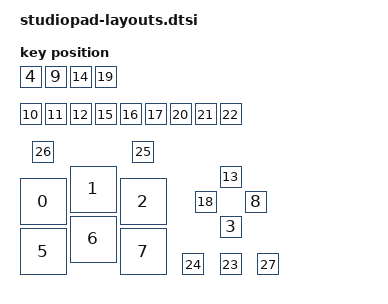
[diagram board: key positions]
#include <physical_layouts.dtsi>

/ {
    physical_layout_studiopad: physical_layout_studiopad {
        compatible = "zmk,physical-layout";
        display-name = "StudioPad";
        keys  //                     w   h    x    y     rot    rx    ry
            = <&key_physical_attrs 100 100    0  225       0     0   225>
            , <&key_physical_attrs 100 100  100  200       0   100   200>
            , <&key_physical_attrs 100 100  200  225       0   200   225>
            , <&key_physical_attrs  50  50  400  300       0   400   300>
            , <&key_physical_attrs  50  50    0    0       0     0     0>
            , <&key_physical_attrs 100 100    0  325       0     0   325>
            , <&key_physical_attrs 100 100  100  300       0   100   300>
            , <&key_physical_attrs 100 100  200  325       0   200   325>
            , <&key_physical_attrs  50  50  450  250       0   450   250>
            , <&key_physical_attrs  50  50   50    0       0    50     0>
            , <&key_physical_attrs  50  50    0   75       0     0    75>
            , <&key_physical_attrs  50  50   50   75       0    50    75>
            , <&key_physical_attrs  50  50  100   75       0   100    75>
            , <&key_physical_attrs  50  50  400  200       0   400   200>
            , <&key_physical_attrs  50  50  100    0       0   100     0>
            , <&key_physical_attrs  50  50  150   75       0   150    75>
            , <&key_physical_attrs  50  50  200   75       0   200    75>
            , <&key_physical_attrs  50  50  250   75       0   250    75>
            , <&key_physical_attrs  50  50  350  250       0   350   250>
            , <&key_physical_attrs  50  50  150    0       0   150     0>
            , <&key_physical_attrs  50  50  300   75       0   300    75>
            , <&key_physical_attrs  50  50  350   75       0   350    75>
            , <&key_physical_attrs  50  50  400   75       0   400    75>
            , <&key_physical_attrs  50  50  400  375       0   400   375>
            , <&key_physical_attrs  50  50  325  375       0   325   375>
            , <&key_physical_attrs  50  50  225  150       0   225   150>
            , <&key_physical_attrs  50  50   25  150       0    25   150>
            , <&key_physical_attrs  50  50  475  375       0   475   375>
            ;
    };
};
